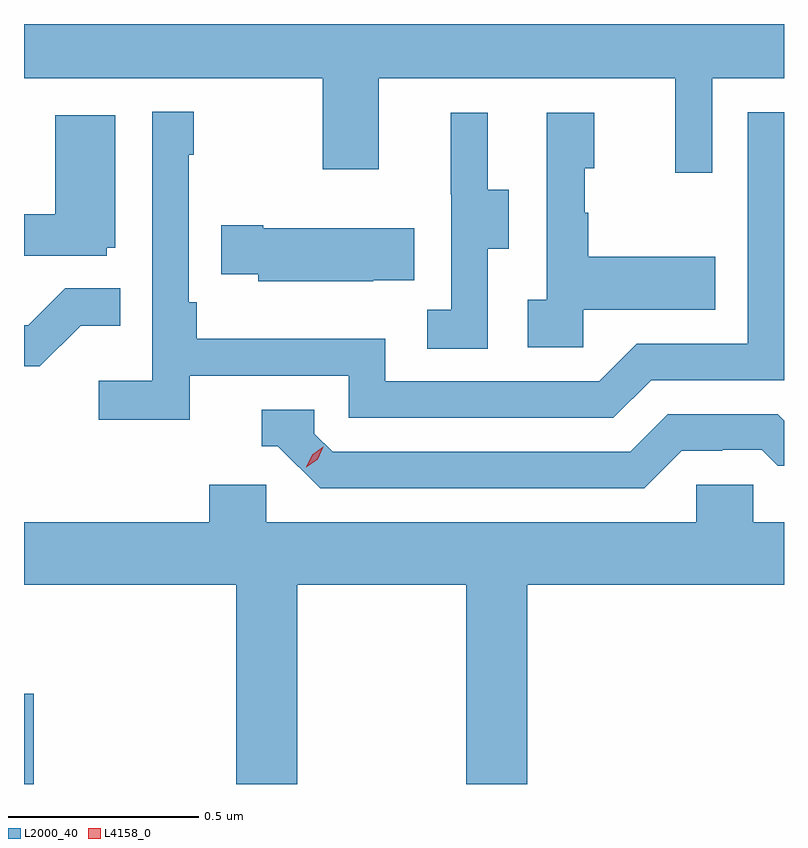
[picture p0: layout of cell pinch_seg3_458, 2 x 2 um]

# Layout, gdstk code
import gdstk
lib = gdstk.Library(unit=1e-6, precision=1e-09)
def R(c, l, rs):  # rectangles x0, y0, x1, y1
    for r in rs: c.add(gdstk.rectangle(r[:2], r[2:], *l))
def P(c, l, *ps):  # polygons
    for p in ps: c.add(gdstk.Polygon(p, *l))
L2000_40 = (2000, 40)
L4158_0 = (4158, 0)

pinch_seg3_458 = lib.new_cell('pinch_seg3_458')
R(pinch_seg3_458, L2000_40, [(938.71,684.407,938.735,684.644)])
P(pinch_seg3_458, L2000_40, [(940.521,686.264),(940.71,686.264),(940.71,686.407),(938.71,686.407),(938.71,686.264),(939.496,686.264),(939.496,686.025),(939.643,686.025),(939.643,686.264),(940.424,686.264),(940.424,686.016),(940.521,686.016)],
  [(939.146,685.482),(939.564,685.482),(939.564,685.371),(940.261,685.371),(940.36,685.47),(940.71,685.47),(940.71,686.175),(940.614,686.175),(940.614,685.566),(940.323,685.566),(940.224,685.467),(939.66,685.467),(939.66,685.579),(939.164,685.579),(939.164,685.675),(939.144,685.675),(939.144,686.063),(939.157,686.063),(939.157,686.176),(939.048,686.176),(939.048,685.468),(938.907,685.468),(938.907,685.366),(939.146,685.366)],
  [(939.93,685.816),(939.985,685.816),(939.985,685.971),(939.931,685.971),(939.931,686.173),(939.833,686.173),(939.833,685.959),(939.834,685.959),(939.834,685.655),(939.771,685.655),(939.771,685.552),(939.93,685.552)],
  [(940.182,685.655),(940.529,685.655),(940.529,685.795),(940.195,685.795),(940.195,685.91),(940.185,685.91),(940.185,686.028),(940.21,686.028),(940.21,686.173),(940.086,686.173),(940.086,685.682),(940.035,685.682),(940.035,685.557),(940.182,685.557)],
  [(938.928,685.818),(938.95,685.818),(938.95,686.167),(938.792,686.167),(938.792,685.906),(938.71,685.906),(938.71,685.797),(938.928,685.797)],
  [(939.629,685.733),(939.737,685.733),(939.737,685.87),(939.34,685.87),(939.34,685.878),(939.229,685.878),(939.229,685.748),(939.327,685.748),(939.327,685.73),(939.629,685.73)],
  [(938.859,685.613),(938.963,685.613),(938.963,685.712),(938.819,685.712),(938.721,685.614),(938.71,685.614),(938.71,685.506),(938.752,685.506)],
  [(940.441,685.284),(940.548,685.284),(940.548,685.287),(940.651,685.287),(940.693,685.245),(940.71,685.245),(940.71,685.363),(940.693,685.38),(940.404,685.38),(940.305,685.281),(939.522,685.281),(939.474,685.329),(939.474,685.392),(939.335,685.392),(939.335,685.296),(939.378,685.296),(939.489,685.185),(940.342,685.185)],
  [(939.429,684.932),(939.874,684.932),(939.874,684.407),(940.034,684.407),(940.034,684.932),(940.71,684.932),(940.71,685.096),(940.629,685.096),(940.629,685.194),(940.479,685.194),(940.479,685.096),(939.348,685.096),(939.348,685.194),(939.197,685.194),(939.197,685.096),(938.71,685.096),(938.71,684.932),(939.269,684.932),(939.269,684.407),(939.429,684.407)])
P(pinch_seg3_458, L4158_0, [(939.453,685.241),(939.453,685.242),(939.468,685.274),(939.498,685.294),(939.498,685.294),(939.498,685.294),(939.483,685.261),(939.453,685.241)])

lib.write_gds('pinch_seg3_458.gds')
